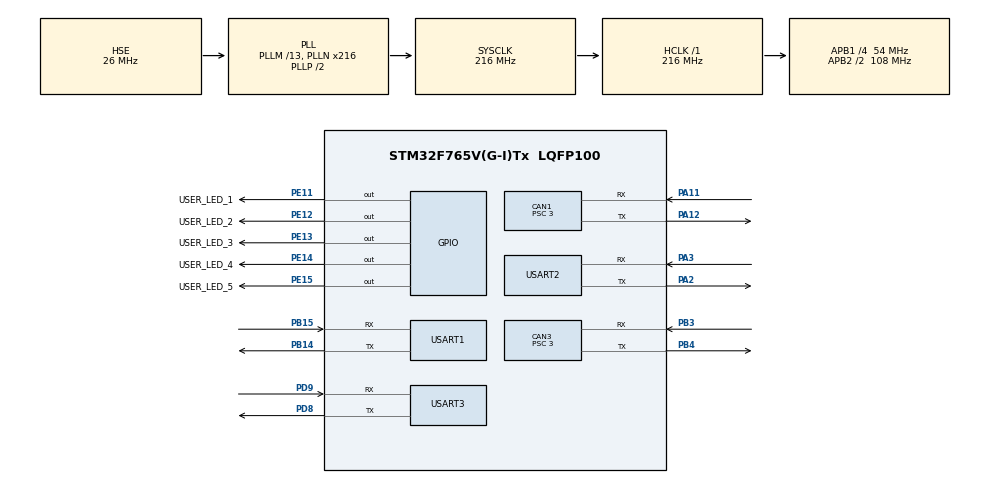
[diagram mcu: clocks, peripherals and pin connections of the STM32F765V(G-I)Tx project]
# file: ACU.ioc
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CAN1.AWUM=ENABLE
CAN1.BS1=CAN_BS1_15TQ
CAN1.BS2=CAN_BS2_2TQ
CAN1.CalculateTimeQuantum=55.55555555555556
CAN1.Prescaler=3
CAN3.AWUM=ENABLE
CAN3.BS1=CAN_BS1_12TQ
CAN3.BS2=CAN_BS2_5TQ
CAN3.CalculateTimeQuantum=55.55555555555556
CAN3.Prescaler=3
Mcu.Family=STM32F7
Mcu.Name=STM32F765V(G-I)Tx
Mcu.Package=LQFP100
NVIC.CAN3_RX0_IRQn=true\:0\:0\:false\:true\:true\:7\:true\:true
NVIC.CAN3_RX1_IRQn=true\:0\:0\:false\:true\:true\:8\:true\:true
NVIC.CAN3_SCE_IRQn=true\:0\:0\:false\:true\:true\:9\:true\:true
NVIC.CAN3_TX_IRQn=true\:0\:0\:false\:true\:true\:6\:true\:true
NVIC.PriorityGroup=NVIC_PRIORITYGROUP_4
NVIC.TIM3_IRQn=true\:0\:0\:false\:true\:true\:5\:true\:true
PA11.Mode=Master
PA11.Signal=CAN1_RX
PA12.Mode=Master
PA12.Signal=CAN1_TX
PA2.Mode=Asynchronous
PA2.Signal=USART2_TX
PA3.Mode=Asynchronous
PA3.Signal=USART2_RX
PB14.Mode=Asynchronous
PB14.Signal=USART1_TX
PB15.Mode=Asynchronous
PB15.Signal=USART1_RX
PB3.GPIO_PuPd=GPIO_NOPULL
PB3.Mode=Master
PB3.Signal=CAN3_RX
PB4.GPIO_PuPd=GPIO_NOPULL
PB4.Mode=Master
PB4.Signal=CAN3_TX
PD8.Mode=Asynchronous
PD8.Signal=USART3_TX
PD9.Mode=Asynchronous
PD9.Signal=USART3_RX
PE11.GPIO_Label=USER_LED_1
PE11.Signal=GPIO_Output
PE12.GPIO_Label=USER_LED_2
PE12.Signal=GPIO_Output
PE13.GPIO_Label=USER_LED_3
PE13.Signal=GPIO_Output
PE14.GPIO_Label=USER_LED_4
PE14.Signal=GPIO_Output
PE15.GPIO_Label=USER_LED_5
PE15.Signal=GPIO_Output
PH0/OSC_IN.Mode=HSE-External-Clock-Source
PH0/OSC_IN.Signal=RCC_OSC_IN
PH1/OSC_OUT.Mode=HSE-External-Clock-Source
PH1/OSC_OUT.Signal=RCC_OSC_OUT
ProjectManager.HeapSize=0x200
ProjectManager.StackSize=0x400
ProjectManager.TargetToolchain=STM32CubeIDE
RCC.AHBFreq_Value=216000000
RCC.APB1CLKDivider=RCC_HCLK_DIV4
RCC.APB1Freq_Value=54000000
RCC.APB1TimFreq_Value=108000000
RCC.APB2CLKDivider=RCC_HCLK_DIV2
RCC.APB2Freq_Value=108000000
RCC.APB2TimFreq_Value=216000000
RCC.CortexFreq_Value=216000000
RCC.HCLKFreq_Value=216000000
RCC.HSE_VALUE=26000000
RCC.HSI_VALUE=16000000
RCC.LSE_VALUE=32768
RCC.PLLM=13
RCC.PLLN=216
RCC.PLLSourceVirtual=RCC_PLLSOURCE_HSE
RCC.SYSCLKFreq_VALUE=216000000
RCC.SYSCLKSource=RCC_SYSCLKSOURCE_PLLCLK
RCC.USBFreq_Value=216000000
RCC.VCOOutputFreq_Value=432000000
TIM1.Period=100
TIM1.Prescaler=128
TIM3.Period=10000
TIM3.Prescaler=54
USART1.VirtualMode-Asynchronous=VM_ASYNC
USART2.VirtualMode-Asynchronous=VM_ASYNC
USART3.VirtualMode-Asynchronous=VM_ASYNC
VP_TIM1_VS_ClockSourceINT.Mode=Internal
VP_TIM3_VS_ClockSourceINT.Mode=Internal
board=custom

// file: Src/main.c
/* USER CODE BEGIN Header */
/**
  ******************************************************************************
  * @file           : main.c
  * @brief          : Main program body
  ******************************************************************************
  * @attention
  *
  * <h2><center>&copy; Copyright (c) 2019 STMicroelectronics.
  * All rights reserved.</center></h2>
  *
  * This software component is licensed by ST under BSD 3-Clause license,
  * the "License"; You may not use this file except in compliance with the
  * License. You may obtain a copy of the License at:
  *                        opensource.org/licenses/BSD-3-Clause
  *
  ******************************************************************************
  */
/* USER CODE END Header */

#include "main.h"

/* USER CODE BEGIN Includes */
#include "id.h"
#include "state.h"
#include "can.h"
#include "global_variables.h"
#include "string.h"
#include "stdio.h"
/* USER CODE END Includes */

CAN_HandleTypeDef hcan1;
CAN_HandleTypeDef hcan3;

TIM_HandleTypeDef htim1;
TIM_HandleTypeDef htim3;

UART_HandleTypeDef huart1;
UART_HandleTypeDef huart2;
UART_HandleTypeDef huart3;

/* USER CODE BEGIN PV */
ID id;
uint8_t i_debug;
extern canStruct can1,can3;
extern fifoCanDataType fifoCAN1, fifoCAN3;
extern fifoPriority fifoPriority_t;

CAN_FilterTypeDef sFilter;
/*
extern fifoRxDataType fifoRxDataCAN1[fifoLengthN], fifoRxDataCAN3[fifoLengthN];
extern fifoTxDataType fifoTxDataCAN1_normal[fifoLengthN], fifoTxDataCAN1_high[fifoLengthR];
extern fifoTxDataType fifoTxDataCAN3_normal[fifoLengthN], fifoTxDataCAN3_high[fifoLengthR];*/

char txt[100];
/* USER CODE END PV */

void SystemClock_Config(void);
static void MX_GPIO_Init(void);
static void MX_TIM1_Init(void);
static void MX_TIM3_Init(void);
static void MX_USART2_UART_Init(void);
static void MX_USART1_UART_Init(void);
static void MX_CAN3_Init(void);
static void MX_USART3_UART_Init(void);
static void MX_CAN1_Init(void);
static void MX_NVIC_Init(void);

int main(void)
{
  /* USER CODE BEGIN 1 */
	ID_intit(&id);
  /* USER CODE END 1 */

  /* MCU Configuration--------------------------------------------------------*/

  /* Reset of all peripherals, Initializes the Flash interface and the Systick. */
  HAL_Init();

  /* Configure the system clock */
  SystemClock_Config();

  /* Initialize all configured peripherals */
  MX_GPIO_Init();
  MX_TIM1_Init();
  MX_TIM3_Init();
  MX_USART2_UART_Init();
  MX_USART1_UART_Init();
  MX_CAN3_Init();
  MX_USART3_UART_Init();
  MX_CAN1_Init();

  /* Initialize interrupts */
  MX_NVIC_Init();
  /* USER CODE BEGIN 2 */

  HAL_TIM_Base_Start_IT(&htim3);
/*
  sFilter.FilterMode = CAN_FILTERMODE_IDMASK;
  sFilter.FilterIdLow = 0;
  sFilter.FilterIdHigh = 0;
  sFilter.FilterMaskIdHigh = 0;
  sFilter.FilterMaskIdLow = 0;
  sFilter.FilterFIFOAssignment = CAN_FILTER_FIFO0;
  sFilter.FilterBank = 0;
  sFilter.FilterScale  = CAN_FILTERSCALE_16BIT;
  sFilter.FilterActivation = ENABLE;
  int err1 = HAL_CAN_ConfigFilter(&hcan3, &sFilter);
  int err2 = HAL_CAN_ActivateNotification(&hcan3, CAN3_RX0_IRQn);
  int err3 = HAL_CAN_Start(&hcan3);*/

  //can3.rx0_interrupt = CAN1_RX0_IRQn;
  //can1.hcan = &hcan1;
  can3.rx0_interrupt = CAN3_RX0_IRQn;
  can3.hcan = &hcan3;

  can_init();

  sprintf(txt,"----------START---------\r\n");
  HAL_UART_Transmit(&huart3,(uint8_t*)txt, strlen(txt), 10);
  sprintf(txt,"Config Status: %d\r\n", can3.configFilter_status);
  HAL_UART_Transmit(&huart3,(uint8_t*)txt, strlen(txt), 10);
  sprintf(txt,"CAN Notification %d\r\n", can3.activateNotif_status);
  HAL_UART_Transmit(&huart3,(uint8_t*)txt, strlen(txt), 10);
  sprintf(txt,"CAN start status: %d\r\n", can3.canStart_status);
  HAL_UART_Transmit(&huart3,(uint8_t*)txt, strlen(txt), 10);

  current_state = STATE_INIT;
  /* USER CODE END 2 */

  /* Infinite loop */
  /* USER CODE BEGIN WHILE */
  while (1)
  {
	  if(current_state == STATE_INIT){
		  init();
	  }else if(current_state == STATE_IDLE){
		  idle();
	  }else if(current_state == STATE_CALIB){
		  calib();
	  }else if(current_state == STATE_SETUP){
		  setup();
	  }else if(current_state == STATE_RUN){
		  run();
	  }

	  can3.dataTx[0]=i_debug;
	  i_debug++;
	  can3.dataTx[1]=2;
	  can3.dataTx[2]=3;
	  can3.dataTx[3]=4;
	  can3.dataTx[4]=5;
	  can3.dataTx[5]=6;
	  can3.dataTx[6]=7;
	  can3.dataTx[7]=8;
	  can3.size = 8;

	  CAN_Send(&can3, 130, normalPriority);

	  /*HAL_UART_Transmit(&huart3,(uint8_t*)txt, strlen(txt), 10);
	  sprintf(txt,"Config Status: %d\r\n", can3.configFilter_status);
	  HAL_UART_Transmit(&huart3,(uint8_t*)txt, strlen(txt), 10);
	  sprintf(txt,"CAN Notification %d\r\n", can3.activateNotif_status);
	  HAL_UART_Transmit(&huart3,(uint8_t*)txt, strlen(txt), 10);
	  sprintf(txt,"CAN start status: %d\r\n", can3.canStart_status);
	  HAL_UART_Transmit(&huart3,(uint8_t*)txt, strlen(txt), 10);*/

	  /*HAL_GPIO_TogglePin(USER_LED_3_GPIO_Port, USER_LED_2_Pin);
	  HAL_GPIO_TogglePin(USER_LED_3_GPIO_Port, USER_LED_3_Pin);
	  HAL_GPIO_TogglePin(USER_LED_4_GPIO_Port, USER_LED_4_Pin);
	  HAL_GPIO_TogglePin(USER_LED_5_GPIO_Port, USER_LED_5_Pin);*/
	  HAL_Delay(500);

    /* USER CODE END WHILE */

  }
}

void SystemClock_Config(void)
{
  RCC_OscInitTypeDef RCC_OscInitStruct = {0};
  RCC_ClkInitTypeDef RCC_ClkInitStruct = {0};
  RCC_PeriphCLKInitTypeDef PeriphClkInitStruct = {0};

  /** Configure the main internal regulator output voltage
  */
  __HAL_RCC_PWR_CLK_ENABLE();
  __HAL_PWR_VOLTAGESCALING_CONFIG(PWR_REGULATOR_VOLTAGE_SCALE1);
  /** Initializes the CPU, AHB and APB busses clocks
  */
  RCC_OscInitStruct.OscillatorType = RCC_OSCILLATORTYPE_HSE;
  RCC_OscInitStruct.HSEState = RCC_HSE_BYPASS;
  RCC_OscInitStruct.PLL.PLLState = RCC_PLL_ON;
  RCC_OscInitStruct.PLL.PLLSource = RCC_PLLSOURCE_HSE;
  RCC_OscInitStruct.PLL.PLLM = 13;
  RCC_OscInitStruct.PLL.PLLN = 216;
  RCC_OscInitStruct.PLL.PLLP = RCC_PLLP_DIV2;
  RCC_OscInitStruct.PLL.PLLQ = 2;
  if (HAL_RCC_OscConfig(&RCC_OscInitStruct) != HAL_OK)
  {
    Error_Handler();
  }
  /** Activate the Over-Drive mode
  */
  if (HAL_PWREx_EnableOverDrive() != HAL_OK)
  {
    Error_Handler();
  }
  /** Initializes the CPU, AHB and APB busses clocks
  */
  RCC_ClkInitStruct.ClockType = RCC_CLOCKTYPE_HCLK|RCC_CLOCKTYPE_SYSCLK
                              |RCC_CLOCKTYPE_PCLK1|RCC_CLOCKTYPE_PCLK2;
  RCC_ClkInitStruct.SYSCLKSource = RCC_SYSCLKSOURCE_PLLCLK;
  RCC_ClkInitStruct.AHBCLKDivider = RCC_SYSCLK_DIV1;
  RCC_ClkInitStruct.APB1CLKDivider = RCC_HCLK_DIV4;
  RCC_ClkInitStruct.APB2CLKDivider = RCC_HCLK_DIV2;

  if (HAL_RCC_ClockConfig(&RCC_ClkInitStruct, FLASH_LATENCY_7) != HAL_OK)
  {
    Error_Handler();
  }
  PeriphClkInitStruct.PeriphClockSelection = RCC_PERIPHCLK_USART1|RCC_PERIPHCLK_USART2
                              |RCC_PERIPHCLK_USART3;
  PeriphClkInitStruct.Usart1ClockSelection = RCC_USART1CLKSOURCE_PCLK2;
  PeriphClkInitStruct.Usart2ClockSelection = RCC_USART2CLKSOURCE_PCLK1;
  PeriphClkInitStruct.Usart3ClockSelection = RCC_USART3CLKSOURCE_PCLK1;
  if (HAL_RCCEx_PeriphCLKConfig(&PeriphClkInitStruct) != HAL_OK)
  {
    Error_Handler();
  }
}

/**
  * @brief NVIC Configuration.
  * @retval None
  */
static void MX_NVIC_Init(void)
{
  /* TIM3_IRQn interrupt configuration */
  HAL_NVIC_SetPriority(TIM3_IRQn, 0, 0);
  HAL_NVIC_EnableIRQ(TIM3_IRQn);
  /* CAN3_TX_IRQn interrupt configuration */
  HAL_NVIC_SetPriority(CAN3_TX_IRQn, 0, 0);
  HAL_NVIC_EnableIRQ(CAN3_TX_IRQn);
  /* CAN3_RX0_IRQn interrupt configuration */
  HAL_NVIC_SetPriority(CAN3_RX0_IRQn, 0, 0);
  HAL_NVIC_EnableIRQ(CAN3_RX0_IRQn);
  /* CAN3_RX1_IRQn interrupt configuration */
  HAL_NVIC_SetPriority(CAN3_RX1_IRQn, 0, 0);
  HAL_NVIC_EnableIRQ(CAN3_RX1_IRQn);
  /* CAN3_SCE_IRQn interrupt configuration */
  HAL_NVIC_SetPriority(CAN3_SCE_IRQn, 0, 0);
  HAL_NVIC_EnableIRQ(CAN3_SCE_IRQn);
}

static void MX_CAN1_Init(void)
{

  hcan1.Instance = CAN1;
  hcan1.Init.Prescaler = 3;
  hcan1.Init.Mode = CAN_MODE_NORMAL;
  hcan1.Init.SyncJumpWidth = CAN_SJW_1TQ;
  hcan1.Init.TimeSeg1 = CAN_BS1_15TQ;
  hcan1.Init.TimeSeg2 = CAN_BS2_2TQ;
  hcan1.Init.TimeTriggeredMode = DISABLE;
  hcan1.Init.AutoBusOff = DISABLE;
  hcan1.Init.AutoWakeUp = ENABLE;
  hcan1.Init.AutoRetransmission = DISABLE;
  hcan1.Init.ReceiveFifoLocked = DISABLE;
  hcan1.Init.TransmitFifoPriority = DISABLE;
  if (HAL_CAN_Init(&hcan1) != HAL_OK)
  {
    Error_Handler();
  }

}

static void MX_CAN3_Init(void)
{

  hcan3.Instance = CAN3;
  hcan3.Init.Prescaler = 3;
  hcan3.Init.Mode = CAN_MODE_NORMAL;
  hcan3.Init.SyncJumpWidth = CAN_SJW_1TQ;
  hcan3.Init.TimeSeg1 = CAN_BS1_12TQ;
  hcan3.Init.TimeSeg2 = CAN_BS2_5TQ;
  hcan3.Init.TimeTriggeredMode = DISABLE;
  hcan3.Init.AutoBusOff = DISABLE;
  hcan3.Init.AutoWakeUp = ENABLE;
  hcan3.Init.AutoRetransmission = DISABLE;
  hcan3.Init.ReceiveFifoLocked = DISABLE;
  hcan3.Init.TransmitFifoPriority = DISABLE;
  if (HAL_CAN_Init(&hcan3) != HAL_OK)
  {
    Error_Handler();
  }

}

static void MX_TIM1_Init(void)
{

  TIM_ClockConfigTypeDef sClockSourceConfig = {0};
  TIM_MasterConfigTypeDef sMasterConfig = {0};

  htim1.Instance = TIM1;
  htim1.Init.Prescaler = 128;
  htim1.Init.CounterMode = TIM_COUNTERMODE_UP;
  htim1.Init.Period = 100;
  htim1.Init.ClockDivision = TIM_CLOCKDIVISION_DIV1;
  htim1.Init.RepetitionCounter = 0;
  htim1.Init.AutoReloadPreload = TIM_AUTORELOAD_PRELOAD_DISABLE;
  if (HAL_TIM_Base_Init(&htim1) != HAL_OK)
  {
    Error_Handler();
  }
  sClockSourceConfig.ClockSource = TIM_CLOCKSOURCE_INTERNAL;
  if (HAL_TIM_ConfigClockSource(&htim1, &sClockSourceConfig) != HAL_OK)
  {
    Error_Handler();
  }
  sMasterConfig.MasterOutputTrigger = TIM_TRGO_RESET;
  sMasterConfig.MasterOutputTrigger2 = TIM_TRGO2_RESET;
  sMasterConfig.MasterSlaveMode = TIM_MASTERSLAVEMODE_DISABLE;
  if (HAL_TIMEx_MasterConfigSynchronization(&htim1, &sMasterConfig) != HAL_OK)
  {
    Error_Handler();
  }

}

static void MX_TIM3_Init(void)
{

  TIM_ClockConfigTypeDef sClockSourceConfig = {0};
  TIM_MasterConfigTypeDef sMasterConfig = {0};

  htim3.Instance = TIM3;
  htim3.Init.Prescaler = 54;
  htim3.Init.CounterMode = TIM_COUNTERMODE_UP;
  htim3.Init.Period = 10000;
  htim3.Init.ClockDivision = TIM_CLOCKDIVISION_DIV1;
  htim3.Init.AutoReloadPreload = TIM_AUTORELOAD_PRELOAD_DISABLE;
  if (HAL_TIM_Base_Init(&htim3) != HAL_OK)
  {
    Error_Handler();
  }
  sClockSourceConfig.ClockSource = TIM_CLOCKSOURCE_INTERNAL;
  if (HAL_TIM_ConfigClockSource(&htim3, &sClockSourceConfig) != HAL_OK)
  {
    Error_Handler();
  }
  sMasterConfig.MasterOutputTrigger = TIM_TRGO_RESET;
  sMasterConfig.MasterSlaveMode = TIM_MASTERSLAVEMODE_DISABLE;
  if (HAL_TIMEx_MasterConfigSynchronization(&htim3, &sMasterConfig) != HAL_OK)
  {
    Error_Handler();
  }

}

static void MX_USART1_UART_Init(void)
{

  huart1.Instance = USART1;
  huart1.Init.BaudRate = 115200;
  huart1.Init.WordLength = UART_WORDLENGTH_8B;
  huart1.Init.StopBits = UART_STOPBITS_1;
  huart1.Init.Parity = UART_PARITY_NONE;
  huart1.Init.Mode = UART_MODE_TX_RX;
  huart1.Init.HwFlowCtl = UART_HWCONTROL_NONE;
  huart1.Init.OverSampling = UART_OVERSAMPLING_16;
  huart1.Init.OneBitSampling = UART_ONE_BIT_SAMPLE_DISABLE;
  huart1.AdvancedInit.AdvFeatureInit = UART_ADVFEATURE_NO_INIT;
  if (HAL_UART_Init(&huart1) != HAL_OK)
  {
    Error_Handler();
  }

}

static void MX_USART2_UART_Init(void)
{

  huart2.Instance = USART2;
  huart2.Init.BaudRate = 115200;
  huart2.Init.WordLength = UART_WORDLENGTH_8B;
  huart2.Init.StopBits = UART_STOPBITS_1;
  huart2.Init.Parity = UART_PARITY_NONE;
  huart2.Init.Mode = UART_MODE_TX_RX;
  huart2.Init.HwFlowCtl = UART_HWCONTROL_NONE;
  huart2.Init.OverSampling = UART_OVERSAMPLING_16;
  huart2.Init.OneBitSampling = UART_ONE_BIT_SAMPLE_DISABLE;
  huart2.AdvancedInit.AdvFeatureInit = UART_ADVFEATURE_NO_INIT;
  if (HAL_UART_Init(&huart2) != HAL_OK)
  {
    Error_Handler();
  }

}

static void MX_USART3_UART_Init(void)
{

  huart3.Instance = USART3;
  huart3.Init.BaudRate = 115200;
  huart3.Init.WordLength = UART_WORDLENGTH_8B;
  huart3.Init.StopBits = UART_STOPBITS_1;
  huart3.Init.Parity = UART_PARITY_NONE;
  huart3.Init.Mode = UART_MODE_TX_RX;
  huart3.Init.HwFlowCtl = UART_HWCONTROL_NONE;
  huart3.Init.OverSampling = UART_OVERSAMPLING_16;
  huart3.Init.OneBitSampling = UART_ONE_BIT_SAMPLE_DISABLE;
  huart3.AdvancedInit.AdvFeatureInit = UART_ADVFEATURE_NO_INIT;
  if (HAL_UART_Init(&huart3) != HAL_OK)
  {
    Error_Handler();
  }

}

static void MX_GPIO_Init(void)
{
  GPIO_InitTypeDef GPIO_InitStruct = {0};

  /* GPIO Ports Clock Enable */
  __HAL_RCC_GPIOH_CLK_ENABLE();
  __HAL_RCC_GPIOA_CLK_ENABLE();
  __HAL_RCC_GPIOE_CLK_ENABLE();
  __HAL_RCC_GPIOB_CLK_ENABLE();
  __HAL_RCC_GPIOD_CLK_ENABLE();

  /*Configure GPIO pin Output Level */
  HAL_GPIO_WritePin(GPIOE, USER_LED_1_Pin|USER_LED_2_Pin|USER_LED_3_Pin|USER_LED_4_Pin
                          |USER_LED_5_Pin, GPIO_PIN_RESET);

  /*Configure GPIO pins : USER_LED_1_Pin USER_LED_2_Pin USER_LED_3_Pin USER_LED_4_Pin
                           USER_LED_5_Pin */
  GPIO_InitStruct.Pin = USER_LED_1_Pin|USER_LED_2_Pin|USER_LED_3_Pin|USER_LED_4_Pin
                          |USER_LED_5_Pin;
  GPIO_InitStruct.Mode = GPIO_MODE_OUTPUT_PP;
  GPIO_InitStruct.Pull = GPIO_NOPULL;
  GPIO_InitStruct.Speed = GPIO_SPEED_FREQ_LOW;
  HAL_GPIO_Init(GPIOE, &GPIO_InitStruct);

}

/* USER CODE BEGIN 4 */
void HAL_TIM_PeriodElapsedCallback(TIM_HandleTypeDef *htim){
	if(htim == &htim3){
		count_ms += 10;
		if(count_ms == 10){
			count_ms = 0;
			count_dec++;
			count_inverter++;
			if(count_inverter == 10){
				//TODO: implementare funzione
			}else if(count_inverter == 11){
				count_inverter = 10;
			}
			if(count_dec == 10){
				count_dec = 0;
				count_sec++;
				if(count_sec == 100){
					count_sec = 0;
				}
			}
		}
	}
}
void HAL_CAN_TxMailbox0CompleteCallback(CAN_HandleTypeDef *hcan){
	/*if(hcan == &hcan1){
		fifoDataType fifodata;
		if(fifoTxDataCAN1_high_pop(&fifoCAN1, &fifodata)){
			for(int i = 0; i < 8; i++){
				can1.dataTx[i] = fifodata.data[i];
			}
			if(CAN_Send_IT(&can1, fifodata.id) == 0){
				//TODO: implementare errore
			}
		}else if(fifoTxDataCAN1_normal_pop(&fifoCAN1, &fifodata)){
			for(int i = 0; i < 8; i++){
				can1.dataTx[i] = fifodata.data[i];
			}
			if(CAN_Send_IT(&can1, fifodata.id) == 0){
				//TODO: implementare errore
			}
		}else{
			//TODO: riattivare interrupt
		}
	}else{*/
	HAL_UART_Transmit(&huart3,(uint8_t*)("Messaggio trasmesso\r\n"), strlen("Messaggio trasmesso\r\n"), 10);
		HAL_GPIO_TogglePin(USER_LED_4_GPIO_Port, USER_LED_4_Pin);
		fifoDataType fifodata;
		if(fifoTxDataCAN3_high_pop(&fifoCAN3, &fifodata)){
			for(int i = 0; i < 8; i++){
				can3.dataTx[i] = fifodata.data[i];
			}
			if(CAN_Send_IT(&can3, fifodata.id) == 0){
				//TODO: implementare errore
			}
		}else if(fifoTxDataCAN3_normal_pop(&fifoCAN3, &fifodata)){
			HAL_UART_Transmit(&huart3,(uint8_t*)("Prendo dalla fifo\r\n"), strlen("Prendo dalla fifo\r\n"), 10);
			for(int i = 0; i < 8; i++){
				can3.dataTx[i] = fifodata.data[i];
			}
			if(CAN_Send_IT(&can3, fifodata.id) == 0){
				//TODO: implementare errore
			}
		}else{
			//TODO: riattivare interrupt
			HAL_UART_Transmit(&huart3,(uint8_t*)("Fifo vuota\r\n"), strlen("Fifo vuota\r\n"), 10);
		}
	//}
}
void HAL_CAN_TxMailbox1CompleteCallback(CAN_HandleTypeDef *hcan){
	HAL_UART_Transmit(&huart3,(uint8_t*)("Mailbox 1\r\n"), strlen("Mailbox 1\r\n"), 10);
}
void HAL_CAN_TxMailbox2CompleteCallback(CAN_HandleTypeDef *hcan){
	HAL_UART_Transmit(&huart3,(uint8_t*)("Mailbox 2\r\n"), strlen("Mailbox 2\r\n"), 10);
}
void HAL_CAN_ErrorCallback(CAN_HandleTypeDef *hcan){
	sprintf(txt,"--- Errore ---: %d\r\n",(int)hcan->ErrorCode);
	HAL_UART_Transmit(&huart3,(uint8_t*)(txt), strlen(txt), 10);
	if(hcan == &hcan3){
		CAN_Send_Bck(&can3);
	}
}
/* USER CODE END 4 */

void Error_Handler(void)
{
  /* USER CODE BEGIN Error_Handler_Debug */
  /* User can add his own implementation to report the HAL error return state */

	HAL_GPIO_TogglePin(USER_LED_1_GPIO_Port, USER_LED_1_Pin);
	//HAL_GPIO_TogglePin(USER_LED_2_GPIO_Port, USER_LED_2_Pin);
	HAL_GPIO_TogglePin(USER_LED_3_GPIO_Port, USER_LED_3_Pin);
	HAL_GPIO_TogglePin(USER_LED_4_GPIO_Port, USER_LED_4_Pin);
	HAL_GPIO_TogglePin(USER_LED_5_GPIO_Port, USER_LED_5_Pin);
	HAL_Delay(1000);
  /* USER CODE END Error_Handler_Debug */
}

/************************ (C) COPYRIGHT STMicroelectronics *****END OF FILE****/
